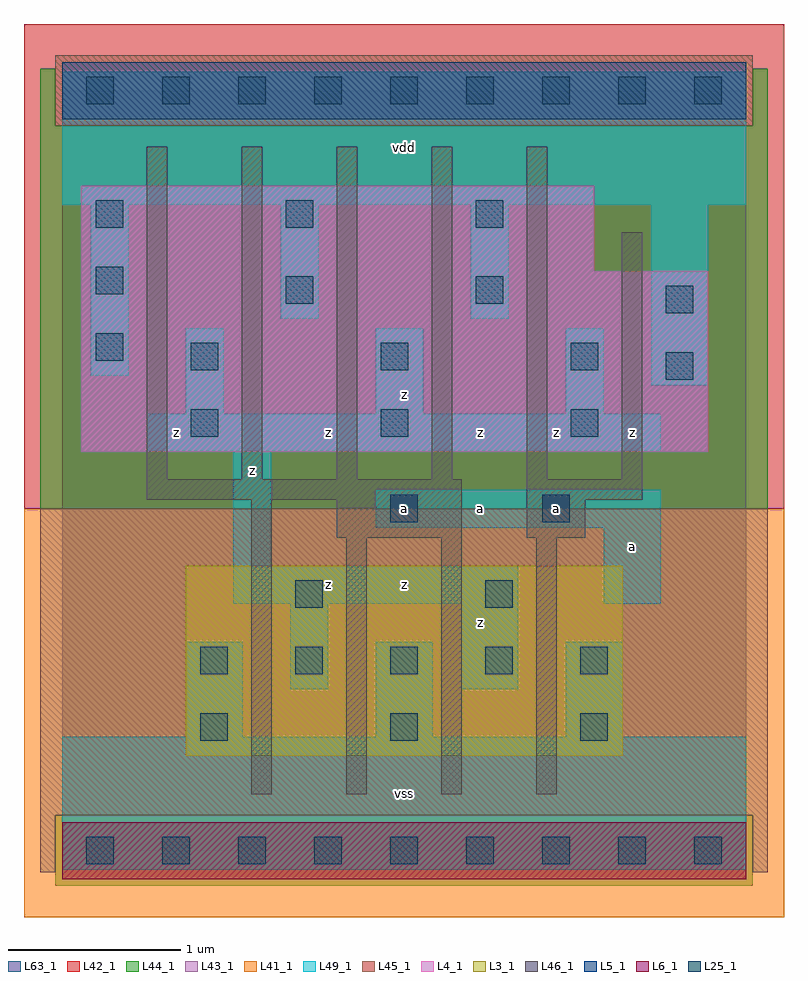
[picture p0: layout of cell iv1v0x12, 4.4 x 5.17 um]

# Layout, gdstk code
import gdstk
lib = gdstk.Library(unit=1e-6, precision=1e-09)
def R(c, l, rs):  # rectangles x0, y0, x1, y1
    for r in rs: c.add(gdstk.rectangle(r[:2], r[2:], *l))
def A(c, l, x, y, w, h, nx, ny, dx, dy):  # array of equal rectangles
    R(c, l, [(x+i*dx, y+j*dy, x+i*dx+w, y+j*dy+h) for i in range(nx) for j in range(ny)])
L3_1 = (3, 1)
L4_1 = (4, 1)
L5_1 = (5, 1)
L6_1 = (6, 1)
L25_1 = (25, 1)
L41_1 = (41, 1)
L42_1 = (42, 1)
L43_1 = (43, 1)
L44_1 = (44, 1)
L45_1 = (45, 1)
L46_1 = (46, 1)
L49_1 = (49, 1)
L63_1 = (63, 1)

iv1v0x12 = lib.new_cell('iv1v0x12')
R(iv1v0x12, L3_1, [(0.715,0.55,3.245,1.65)])
R(iv1v0x12, L4_1, [(0.11,2.31,3.74,3.355), (0.11,3.355,3.08,3.85)])
R(iv1v0x12, L5_1, [(0,4.235,3.96,4.565)])
R(iv1v0x12, L6_1, [(0,-0.165,3.96,0.165)])
A(iv1v0x12, L25_1, 0.14, -0.08, 0.16, 0.16, 9, 2, 0.44, 4.4)
A(iv1v0x12, L25_1, 0.8, 0.635, 0.16, 0.16, 3, 1, 1.1, 0)
A(iv1v0x12, L25_1, 0.8, 1.02, 0.16, 0.16, 5, 1, 0.55, 0)
A(iv1v0x12, L25_1, 0.745, 2.395, 0.16, 0.16, 3, 2, 1.1, 0.385)
A(iv1v0x12, L25_1, 0.195, 3.605, 0.16, 0.16, 3, 1, 1.1, 0)
R(iv1v0x12, L25_1, [(1.35,1.405,1.51,1.565), (2.45,1.405,2.61,1.565), (1.9,1.9,2.06,2.06), (2.78,1.9,2.94,2.06), (3.495,2.725,3.655,2.885), (0.195,2.835,0.355,2.995), (3.495,3.11,3.655,3.27), (1.295,3.165,1.455,3.325), (2.395,3.165,2.555,3.325), (0.195,3.22,0.355,3.38)])
R(iv1v0x12, L41_1, [(-0.22,-0.385,4.18,1.98)])
R(iv1v0x12, L42_1, [(-0.22,1.98,4.18,4.785)])
R(iv1v0x12, L43_1, [(0,-0.165,3.96,0.165), (0.715,0.55,3.245,1.65), (0.11,2.31,3.74,3.355), (0.11,3.355,3.08,3.85), (0,4.235,3.96,4.565)])
R(iv1v0x12, L44_1, [(-0.04,-0.205,4,0.205), (-0.125,1.98,4.085,4.195), (-0.125,4.195,-0.04,4.525), (4,4.195,4.085,4.525)])
R(iv1v0x12, L45_1, [(-0.125,-0.125,-0.04,0.205), (4,-0.125,4.085,0.205), (-0.125,0.205,4.085,1.98), (-0.04,4.195,4,4.605)])
A(iv1v0x12, L46_1, 1.645, 0.325, 0.12, 1.485, 3, 1, 0.55, 0)
A(iv1v0x12, L46_1, 0.49, 2.15, 0.12, 1.925, 5, 1, 0.55, 0)
R(iv1v0x12, L46_1, [(1.095,0.325,1.215,2.03), (1.59,1.81,2.315,2.03), (2.69,1.81,3.03,2.03), (0.49,2.03,2.315,2.15), (2.69,2.03,3.36,2.15), (3.24,2.15,3.36,3.58)])
A(iv1v0x12, L49_1, 0.715, 0.66, 0.33, 0.55, 3, 1, 1.1, 0)
R(iv1v0x12, L49_1, [(0,-0.11,3.96,0.66), (1.32,0.935,1.54,1.43), (2.31,0.935,2.64,1.43), (0.99,1.43,2.64,1.65), (3.135,1.43,3.465,1.87), (0.99,1.65,1.21,2.31), (1.815,1.87,3.465,2.09), (0.495,2.31,3.465,2.53), (0.715,2.53,0.935,3.025), (1.815,2.53,2.09,3.025), (2.915,2.53,3.135,3.025), (3.41,2.695,3.74,3.74), (0.165,2.75,0.385,3.74), (1.265,3.08,1.485,3.74), (2.365,3.08,2.585,3.74), (0,3.74,3.96,4.51)])
R(iv1v0x12, L63_1, [(0,0,3.96,4.4)])
iv1v0x12.add(gdstk.Label('z', (0.66,2.42), layer=49, texttype=1))
iv1v0x12.add(gdstk.Label('z', (1.1,2.2), layer=49, texttype=1))
iv1v0x12.add(gdstk.Label('vss', (1.98,0.33), layer=49, texttype=1))
iv1v0x12.add(gdstk.Label('z', (1.54,1.54), layer=49, texttype=1))
iv1v0x12.add(gdstk.Label('z', (1.98,1.54), layer=49, texttype=1))
iv1v0x12.add(gdstk.Label('z', (1.54,2.42), layer=49, texttype=1))
iv1v0x12.add(gdstk.Label('a', (1.98,1.98), layer=49, texttype=1))
iv1v0x12.add(gdstk.Label('z', (1.98,2.64), layer=49, texttype=1))
iv1v0x12.add(gdstk.Label('vdd', (1.98,4.07), layer=49, texttype=1))
iv1v0x12.add(gdstk.Label('z', (2.42,1.32), layer=49, texttype=1))
iv1v0x12.add(gdstk.Label('a', (2.42,1.98), layer=49, texttype=1))
iv1v0x12.add(gdstk.Label('z', (2.42,2.42), layer=49, texttype=1))
iv1v0x12.add(gdstk.Label('z', (2.86,2.42), layer=49, texttype=1))
iv1v0x12.add(gdstk.Label('a', (2.86,1.98), layer=49, texttype=1))
iv1v0x12.add(gdstk.Label('a', (3.3,1.76), layer=49, texttype=1))
iv1v0x12.add(gdstk.Label('z', (3.3,2.42), layer=49, texttype=1))

lib.write_gds('iv1v0x12.gds')
